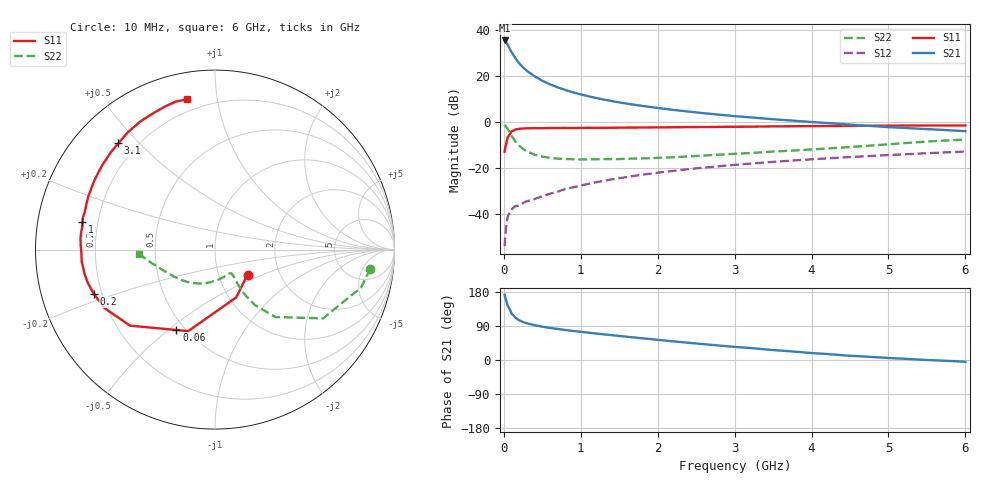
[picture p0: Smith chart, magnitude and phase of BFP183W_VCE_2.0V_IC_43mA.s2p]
! Infineon Technologies  Discrete & RF Semiconductors
! BFP183W
! VCE =  2.0 V,  IC =  43 mA
! Common Emitter S-Parameters:  Jan 2017
# GHz  S  MA  R  50
!  f  S11  S21  S12  S22
! GHz  MAG  ANG  MAG  ANG  MAG  ANG  MAG  ANG
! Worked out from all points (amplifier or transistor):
!   77 points, 10 MHz to 6 GHz, reference 50 ohm
!   highest |S21| = 35.6 dB at 10 MHz (marker M1)
!   |S21| within 3 dB of that: start of sweep to 67.97 MHz
!   unconditionally stable (mu >= 1): 433.9 MHz to 4.823 GHz
!   at 130 MHz: K = 0.48, MSG = 33.1 dB, |S12| = -37.1 dB
!   at 2.2 GHz: K = 1.18, MAG = 10.7 dB, |S12| = -21.2 dB
!   at 6 GHz: K = 0.96, MSG = 4.4 dB, |S12| = -12.8 dB
!   S11 on the Smith chart (normalised r, x): 10 MHz: 1.37, -0.41; 60 MHz: 0.45, -0.53; 200 MHz: 0.17, -0.17; 1 GHz: 0.14, +0.10; 3.1 GHz: 0.13, +0.44; 6 GHz: 0.13, +0.82
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0.01  0.2289 -37.7  60.58 172.2  0.002 80.5  0.8712 -7.1
0.02  0.2912 -65.9  58.58 163.4  0.0036 83.9  0.8415 -14.5
0.05  0.478 -108.2  48.87 142.9  0.0087 57.8  0.7137 -32.5
0.06  0.4966 -115.6  45.49 139.9  0.0095 55.3  0.6687 -34.8
0.1  0.6357 -138.2  33.81 122.2  0.0127 48.4  0.5047 -48.1
0.15  0.6965 -152.1  24.76 111.6  0.0149 44.7  0.3795 -54.3
0.2  0.7189 -160.0  19.22 104.7  0.0153 45.6  0.308 -56.3
0.25  0.7329 -165.5  15.66 100.0  0.0175 45.3  0.263 -56.8
0.3  0.739 -169.4  13.16 96.7  0.0191 48.0  0.2321 -56.6
0.4  0.7455 -174.9  10.01 91.6  0.0212 51.4  0.1968 -55.9
0.5  0.7446 -178.8  8.028 87.9  0.0245 56.0  0.1787 -55.1
0.6  0.7489 177.9  6.714 84.7  0.0278 58.1  0.1677 -55.2
0.7  0.7517 175.3  5.76 81.9  0.0308 60.6  0.1611 -55.3
0.8  0.7521 172.8  5.047 79.1  0.0353 63.1  0.1588 -56.1
1  0.7541 168.3  4.047 74.4  0.0418 64.6  0.1548 -59.1
1.1  0.757 166.2  3.682 72.2  0.0456 65.0  0.156 -60.7
1.5  0.7625 158.8  2.709 63.5  0.0604 65.9  0.158 -69.5
2.1  0.7768 147.9  1.955 51.3  0.0834 64.7  0.1704 -86.5
3.1  0.8005 132.3  1.321 33.1  0.1217 59.1  0.2097 -116.1
4.1  0.8275 118.8  0.988 17.1  0.1597 52.3  0.2618 -142.0
5.1  0.846 108.3  0.769 4.3  0.1967 45.1  0.3406 -164.6
6  0.852 100.4  0.641 -4.6  0.2301 38.0  0.4219 -176.8
